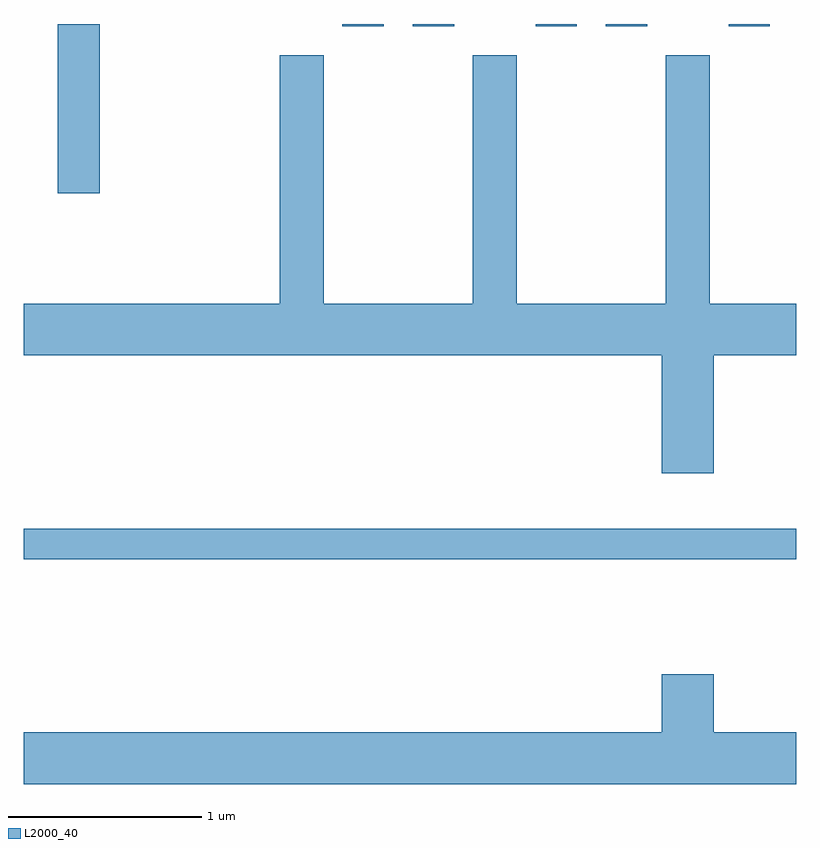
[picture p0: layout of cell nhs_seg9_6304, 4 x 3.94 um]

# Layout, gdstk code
import gdstk
lib = gdstk.Library(unit=1e-6, precision=1e-09)
def R(c, l, rs):  # rectangles x0, y0, x1, y1
    for r in rs: c.add(gdstk.rectangle(r[:2], r[2:], *l))
def P(c, l, *ps):  # polygons
    for p in ps: c.add(gdstk.Polygon(p, *l))
L2000_40 = (2000, 40)

nhs_seg9_6304 = lib.new_cell('nhs_seg9_6304')
R(nhs_seg9_6304, L2000_40, [(371.611,1979.661,375.611,1979.819), (371.786,1981.556,372.004,1982.432), (373.261,1982.421,373.474,1982.432), (373.626,1982.421,373.839,1982.432), (374.261,1982.421,374.474,1982.432), (374.626,1982.421,374.839,1982.432), (375.261,1982.421,375.474,1982.432)])
P(nhs_seg9_6304, L2000_40, [(375.184,1980.716),(375.611,1980.716),(375.611,1980.984),(375.164,1980.984),(375.164,1982.269),(374.936,1982.269),(374.936,1980.984),(374.164,1980.984),(374.164,1982.269),(373.936,1982.269),(373.936,1980.984),(373.164,1980.984),(373.164,1982.269),(372.936,1982.269),(372.936,1980.984),(371.611,1980.984),(371.611,1980.716),(374.916,1980.716),(374.916,1980.106),(375.184,1980.106)],
  [(375.611,1978.764),(375.184,1978.764),(375.184,1979.064),(374.916,1979.064),(374.916,1978.764),(371.611,1978.764),(371.611,1978.496),(375.611,1978.496)])

lib.write_gds('nhs_seg9_6304.gds')
